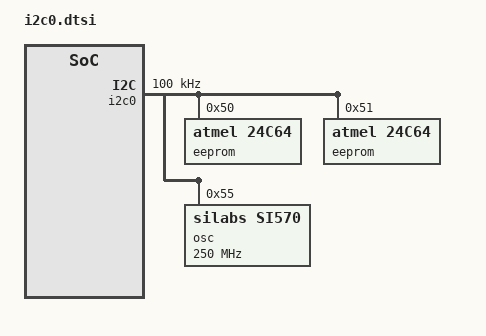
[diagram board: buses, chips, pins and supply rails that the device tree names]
/*
 * list devices on I2C bus
 */

&i2c0 {

	clock-frequency = <100000>;

	eeprom@50 {
		compatible = "atmel,24c64";
		#address-cells = <1>;
		#size-cells = <1>;
		reg = <0x50>;
		pagesize = <32>;
	};

	eeprom@51 {
		compatible = "atmel,24c64";
		#address-cells = <1>;
		#size-cells = <1>;
		reg = <0x51>;
		pagesize = <32>;
	};

	osc@55 {
		#clock-cells = <0>;
		compatible = "silabs,si570";
		reg = <0x55>;
		factory-fout = <100000000>;
		clock-frequency = <250000000>;
		temperature-stability = <50>;
	};
};
